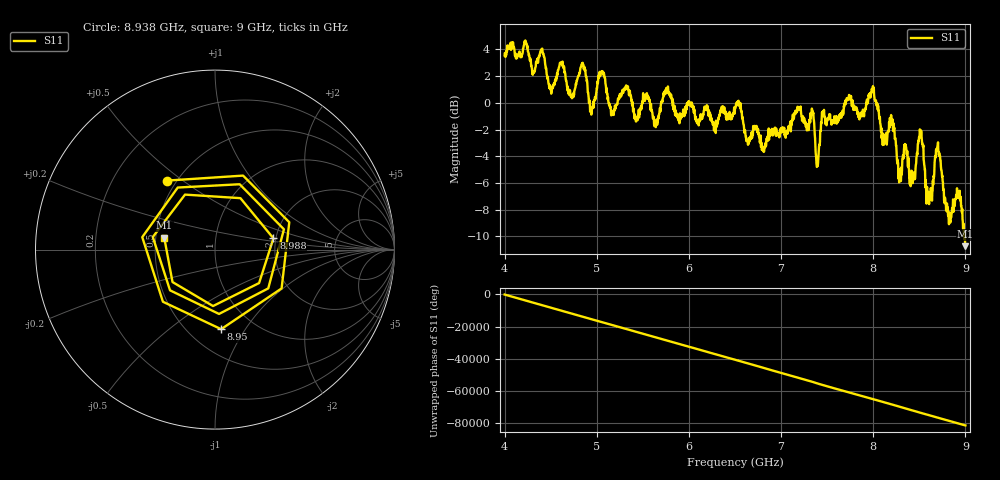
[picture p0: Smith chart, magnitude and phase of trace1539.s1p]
! Created with skrf 1.8.0 (http://scikit-rf.org).
# Hz S RI R 50.0
!freq ReS11 ImS11
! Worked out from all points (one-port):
!   1601 points, 4 GHz to 9 GHz, reference 50 ohm
!   lowest |S11| = -10.7 dB at 9 GHz (marker M1), VSWR 1.82, Z = 27.7 + j4.04 ohm
!   |S11| at or under -10 dB: 8.989956 GHz to end of sweep
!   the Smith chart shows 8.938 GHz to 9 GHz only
!   S11 on the Smith chart (normalised r, x): 8.938 GHz: 0.44, +0.44; 8.95 GHz: 0.71, -0.79; 8.988 GHz: 1.94, +0.27; 9 GHz: 0.55, +0.08
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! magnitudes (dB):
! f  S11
! 4 GHz  3.6
! 4.625 GHz  2.8
! 4.728 GHz  0.5
! 4.853 GHz  2.9
! 4.941 GHz  -0.9
! 5.053 GHz  2.3
! 5.25 GHz  0.7
! 5.875 GHz  -0.8
! 6.5 GHz  -0.4
! 6.806 GHz  -3.5
! 7.125 GHz  -1.1
! 7.338 GHz  -0.5
! 7.397 GHz  -4.7
! 7.459 GHz  -1.0
! 7.75 GHz  0.5
! 7.991 GHz  0.9
! 8.116 GHz  -3.1
! 8.206 GHz  -1.5
! 8.284 GHz  -5.8
! 8.375 GHz  -4.7
! 8.516 GHz  -2.6
! 8.597 GHz  -6.7
! 8.7 GHz  -3.2
! 8.812 GHz  -8.4
! 8.938 GHz  -6.6
! 8.95 GHz  -7.0
! 8.988 GHz  -9.6
! 9 GHz  -10.7
